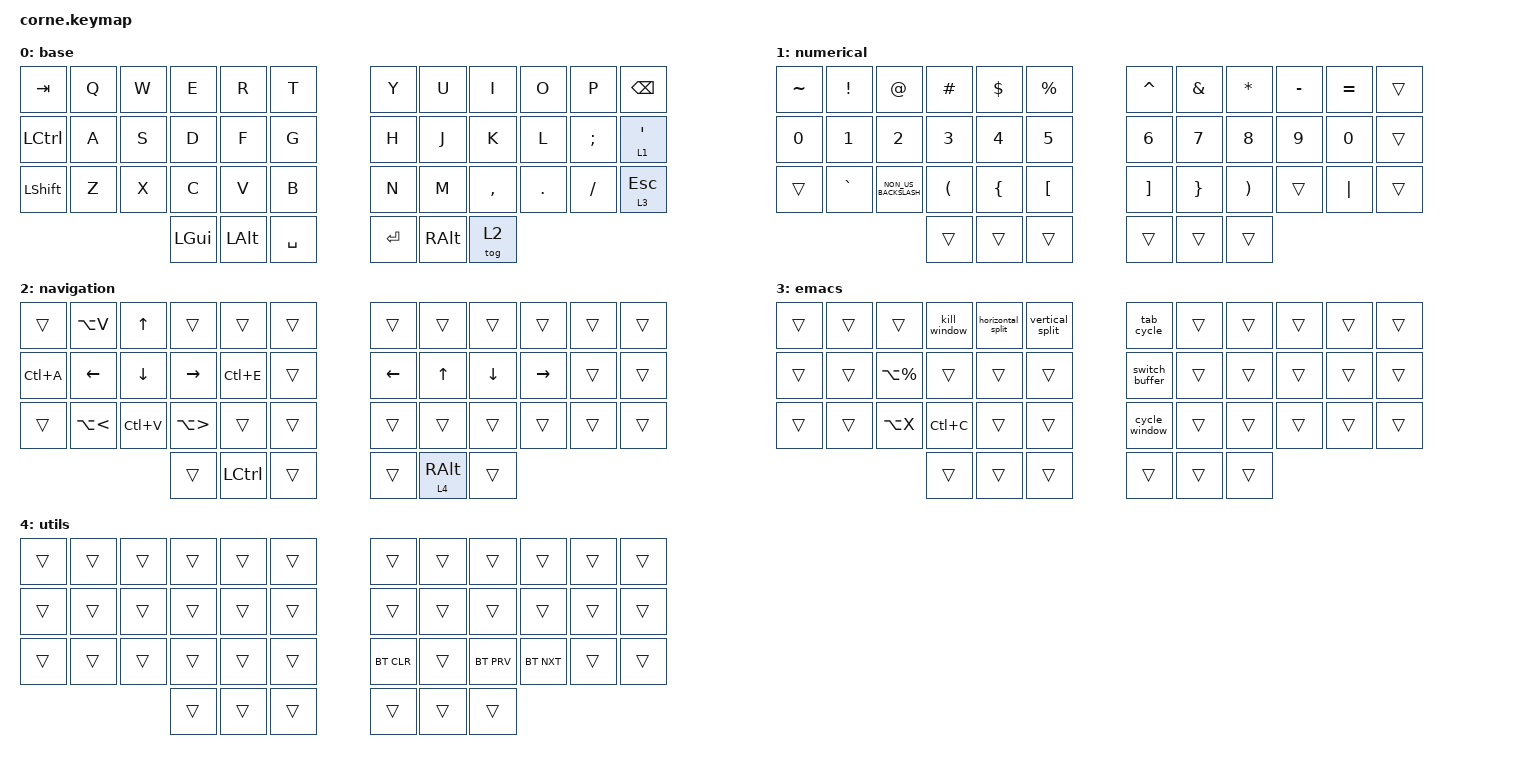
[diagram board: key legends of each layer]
#include <behaviors.dtsi>
#include <dt-bindings/zmk/bt.h>
#include <dt-bindings/zmk/keys.h>

/ {
    macros {
        kill_window: kill_window {
            compatible = "zmk,behavior-macro";
            #binding-cells = <0>;
            bindings = <&kp LC(X) &kp NUMBER_0>;
            label = "KILL_WINDOW";
        };

        horizontal_split: horizontal_split {
            compatible = "zmk,behavior-macro";
            #binding-cells = <0>;
            bindings = <&kp LC(X) &kp NUMBER_2>;
            label = "HORIZONTAL_SPLIT";
        };

        vertical_split: vertical_split {
            compatible = "zmk,behavior-macro";
            #binding-cells = <0>;
            bindings = <&kp LC(X) &kp NUMBER_3>;
            label = "VERTICAL_SPLIT";
        };

        tab_cycle: tab_cycle {
            compatible = "zmk,behavior-macro";
            #binding-cells = <0>;
            bindings = <&kp LC(X) &kp NUMBER_4 &kp T>;
            label = "TAB_CYCLE";
        };

        switch_buffer: consult_buffer {
            compatible = "zmk,behavior-macro";
            #binding-cells = <0>;
            bindings = <&kp LC(X) &kp B>;
            label = "CONSULT_BUFFER";
        };

        cycle_window: cycle_window {
            compatible = "zmk,behavior-macro";
            #binding-cells = <0>;
            bindings = <&kp LC(X) &kp O>;
            label = "CYCLE_WINDOW";
        };
    };

    keymap {
        compatible = "zmk,keymap";

        base {
            bindings = <
&kp TAB    &kp Q  &kp W  &kp E     &kp R         &kp T        &kp Y      &kp U          &kp I      &kp O    &kp P     &kp BSPC
&kp LCTRL  &kp A  &kp S  &kp D     &kp F         &kp G        &kp H      &kp J          &kp K      &kp L    &kp SEMI  &lt 1 SQT
&kp LSHFT  &kp Z  &kp X  &kp C     &kp V         &kp B        &kp N      &kp M          &kp COMMA  &kp DOT  &kp FSLH  &lt 3 ESCAPE
                         &kp LGUI  &kp LEFT_ALT  &kp SPACE    &kp ENTER  &kp RIGHT_ALT  &tog 2
            >;
        };

        numerical {
            bindings = <
&kp TILDE     &kp EXCL      &kp AT                &kp POUND             &kp DOLLAR      &kp PERCENT         &kp CARET          &kp AMPERSAND    &kp ASTERISK           &kp MINUS  &kp EQUAL  &trans
&kp NUMBER_0  &kp NUMBER_1  &kp NUMBER_2          &kp NUMBER_3          &kp NUMBER_4    &kp N5              &kp NUMBER_6       &kp N7           &kp N8                 &kp N9     &kp N0     &trans
&trans        &kp GRAVE     &kp NON_US_BACKSLASH  &kp LEFT_PARENTHESIS  &kp LEFT_BRACE  &kp LEFT_BRACKET    &kp RIGHT_BRACKET  &kp RIGHT_BRACE  &kp RIGHT_PARENTHESIS  &trans     &kp PIPE   &trans
                                                  &trans                &trans          &trans              &trans             &trans           &trans
            >;
        };

        navigation {
            bindings = <
&trans     &kp LA(V)          &kp UP_ARROW    &trans                &trans     &trans    &trans          &trans           &trans          &trans           &trans  &trans
&kp LC(A)  &kp LEFT_ARROW     &kp DOWN_ARROW  &kp RIGHT_ARROW       &kp LC(E)  &trans    &kp LEFT_ARROW  &kp UP_ARROW     &kp DOWN_ARROW  &kp RIGHT_ARROW  &trans  &trans
&trans     &kp LA(LESS_THAN)  &kp LC(V)       &kp LA(GREATER_THAN)  &trans     &trans    &trans          &trans           &trans          &trans           &trans  &trans
                                              &trans                &kp LCTRL  &trans    &trans          &lt 4 RIGHT_ALT  &trans
            >;
        };

        emacs {
            bindings = <
&trans  &trans  &trans           &kill_window  &horizontal_split  &vertical_split    &tab_cycle      &trans  &trans  &trans  &trans  &trans
&trans  &trans  &kp LA(PERCENT)  &trans        &trans             &trans             &switch_buffer  &trans  &trans  &trans  &trans  &trans
&trans  &trans  &kp LA(X)        &kp LC(C)     &trans             &trans             &cycle_window   &trans  &trans  &trans  &trans  &trans
                                 &trans        &trans             &trans             &trans          &trans  &trans
            >;
        };

        utils {
            bindings = <
&trans  &trans  &trans  &trans  &trans  &trans    &trans      &trans  &trans      &trans      &trans  &trans
&trans  &trans  &trans  &trans  &trans  &trans    &trans      &trans  &trans      &trans      &trans  &trans
&trans  &trans  &trans  &trans  &trans  &trans    &bt BT_CLR  &trans  &bt BT_PRV  &bt BT_NXT  &trans  &trans
                        &trans  &trans  &trans    &trans      &trans  &trans
            >;
        };
    };
};
